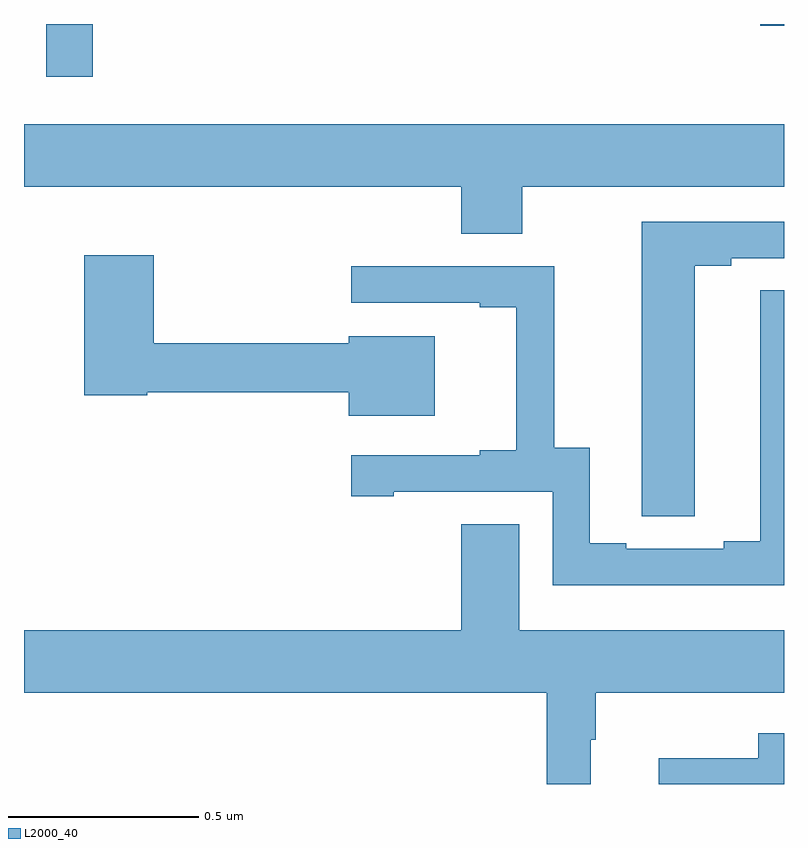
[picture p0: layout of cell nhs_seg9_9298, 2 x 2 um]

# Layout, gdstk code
import gdstk
lib = gdstk.Library(unit=1e-6, precision=1e-09)
def R(c, l, rs):  # rectangles x0, y0, x1, y1
    for r in rs: c.add(gdstk.rectangle(r[:2], r[2:], *l))
def P(c, l, *ps):  # polygons
    for p in ps: c.add(gdstk.Polygon(p, *l))
L2000_40 = (2000, 40)

nhs_seg9_9298 = lib.new_cell('nhs_seg9_9298')
R(nhs_seg9_9298, L2000_40, [(228.059,1211.361,228.181,1211.5), (229.938,1211.495,230,1211.5)])
P(nhs_seg9_9298, L2000_40, [(229.311,1211.072),(230,1211.072),(230,1211.236),(228,1211.236),(228,1211.072),(229.151,1211.072),(229.151,1210.948),(229.311,1210.948)],
  [(229.765,1210.864),(229.861,1210.864),(229.861,1210.884),(230,1210.884),(230,1210.98),(229.625,1210.98),(229.625,1210.312),(229.626,1210.312),(229.626,1210.204),(229.765,1210.204)],
  [(229.081,1210.678),(228.854,1210.678),(228.854,1210.66),(228.341,1210.66),(228.341,1210.891),(228.158,1210.891),(228.158,1210.523),(228.324,1210.523),(228.324,1210.531),(228.854,1210.531),(228.854,1210.469),(229.081,1210.469)],
  [(230,1210.799),(229.937,1210.799),(229.937,1210.139),(229.841,1210.139),(229.841,1210.119),(229.585,1210.119),(229.585,1210.134),(229.489,1210.134),(229.489,1210.385),(229.395,1210.385),(229.395,1210.863),(228.861,1210.863),(228.861,1210.767),(229.199,1210.767),(229.199,1210.755),(229.295,1210.755),(229.295,1210.378),(229.199,1210.378),(229.199,1210.365),(228.861,1210.365),(228.861,1210.257),(228.973,1210.257),(228.973,1210.269),(229.392,1210.269),(229.392,1210.023),(230,1210.023)],
  [(229.492,1209.617),(229.504,1209.617),(229.504,1209.74),(230,1209.74),(230,1209.904),(229.303,1209.904),(229.303,1210.184),(229.151,1210.184),(229.151,1209.904),(228,1209.904),(228,1209.74),(229.375,1209.74),(229.375,1209.5),(229.492,1209.5)],
  [(230,1209.634),(229.932,1209.634),(229.932,1209.568),(229.67,1209.568),(229.67,1209.5),(230,1209.5)])

lib.write_gds('nhs_seg9_9298.gds')
